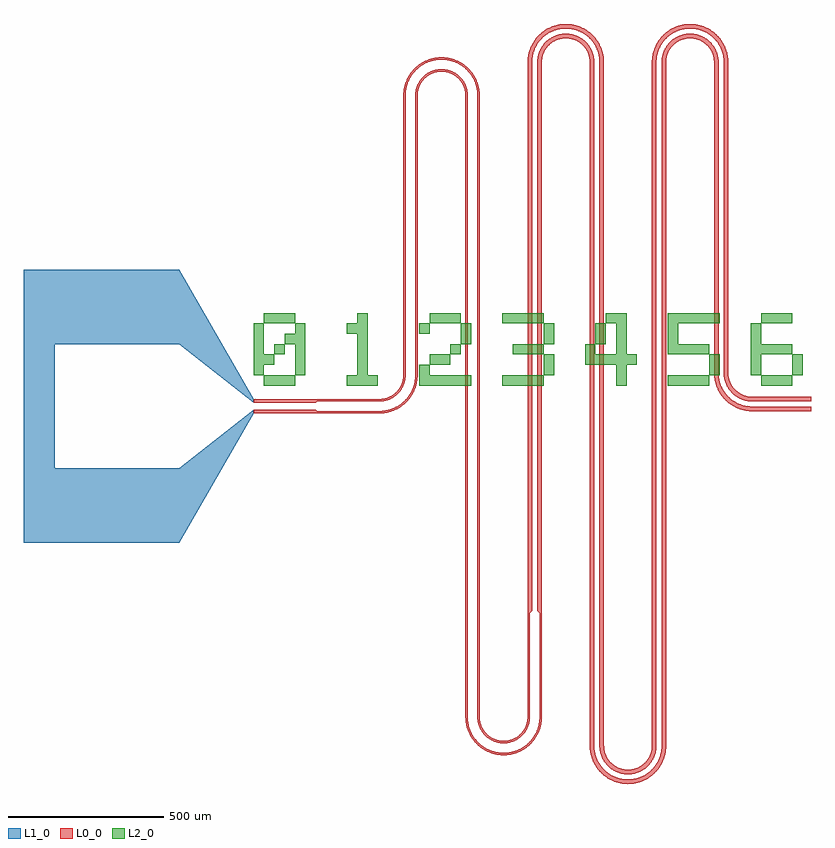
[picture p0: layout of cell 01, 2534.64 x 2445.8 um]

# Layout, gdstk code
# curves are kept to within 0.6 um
import gdstk
lib = gdstk.Library(unit=1e-6, precision=1e-09)
def R(c, l, rs):  # rectangles x0, y0, x1, y1
    for r in rs: c.add(gdstk.rectangle(r[:2], r[2:], *l))
def P(c, l, *ps):  # polygons
    for p in ps: c.add(gdstk.Polygon(p, *l))
L0_0 = (0, 0)
L1_0 = (1, 0)
L2_0 = (2, 0)

c_01 = lib.new_cell('01')
R(c_01, L0_0, [(1081.7,-1092.8,1096.3,1107.2), (1112.9,-1092.8,1127.5,1107.2), (1281.7,-1092.8,1296.3,1107.2), (1312.9,-1092.8,1327.5,1107.2), (681.7,-1000,689.1,1000), (720.1,-1000,727.5,1000), (881.7,-1000,889.1,-665.4), (920.1,-1000,927.5,-665.4), (881.7,-658.2,896.3,1107.2), (912.9,-658.2,927.5,1107.2), (0,-22.9,200,-10.9), (204.6,-22.9,404.6,-15.5), (1604.6,-15.7,1794.643,-1.1), (0,10.9,200,22.9), (204.6,15.5,404.6,22.9), (1604.6,15.5,1794.643,30.1), (481.7,100,489.1,1000), (520.1,100,527.5,1000), (1481.7,107.2,1496.3,1107.2), (1512.9,107.2,1527.5,1107.2)])
P(c_01, L0_0, [(200,22.9),(200,10.9),(204.6,15.5),(204.6,22.9)],
  [(200,-10.9),(200,-22.9),(204.6,-22.9),(204.6,-15.5)],
  [(404.6,15.5),(421.61,17.23),(437.923,22.348),(452.872,30.645),(464.351,40.249),(473.955,51.728),(482.252,66.677),(487.37,82.99),(489.1,100),(481.7,100),(480.122,84.48),(475.452,69.595),(467.881,55.955),(459.118,45.482),(448.645,36.719),(435.005,29.148),(420.12,24.478),(404.6,22.9)],
  [(404.6,-22.9),(417.034,-22.269),(429.34,-20.384),(441.392,-17.264),(453.066,-12.94),(464.244,-7.457),(474.809,-0.872),(491.503,13.097),(505.472,29.791),(512.057,40.356),(517.54,51.534),(521.864,63.208),(524.984,75.26),(526.869,87.566),(527.5,100),(520.1,100),(517.736,76.75),(510.74,54.452),(501.039,36.441),(486.271,18.329),(468.159,3.561),(450.148,-6.14),(427.85,-13.136),(404.6,-15.5)],
  [(520.1,1000),(521.469,1015.149),(526.326,1031.834),(534.492,1047.172),(544.085,1058.976),(557.428,1070.108),(570.762,1077.429),(587.315,1082.713),(604.6,1084.5),(604.6,1077.1),(590.777,1075.851),(575.554,1071.42),(561.559,1063.968),(550.789,1055.215),(540.632,1043.041),(533.18,1029.046),(528.749,1013.823),(527.5,1000)],
  [(481.7,1000),(483.691,1022.034),(486.598,1034.349),(490.755,1046.3),(500.9,1065.96),(508.232,1076.273),(516.585,1085.777),(525.871,1094.373),(535.992,1101.967),(546.84,1108.481),(558.3,1113.845),(570.251,1118.002),(582.566,1120.909),(604.6,1122.9),(604.6,1115.5),(583.893,1113.629),(572.319,1110.897),(561.088,1106.99),(550.318,1101.949),(540.123,1095.828),(523.987,1082.716),(515.91,1073.989),(508.772,1064.477),(498.765,1046.252),(494.571,1035.125),(491.542,1023.626),(489.712,1011.876),(489.1,1000)],
  [(604.6,1084.5),(619.749,1083.131),(636.434,1078.274),(651.772,1070.108),(663.576,1060.515),(674.708,1047.172),(682.029,1033.838),(687.313,1017.285),(689.1,1000),(681.7,1000),(680.451,1013.823),(676.02,1029.046),(668.568,1043.041),(659.815,1053.811),(647.641,1063.968),(633.646,1071.42),(618.423,1075.851),(604.6,1077.1)],
  [(604.6,1122.9),(626.634,1120.909),(638.949,1118.002),(650.9,1113.845),(670.56,1103.7),(680.873,1096.368),(690.377,1088.015),(698.973,1078.729),(706.567,1068.608),(713.081,1057.76),(718.445,1046.3),(722.602,1034.349),(725.509,1022.034),(727.5,1000),(720.1,1000),(718.229,1020.707),(715.497,1032.281),(711.59,1043.512),(706.549,1054.282),(700.428,1064.477),(687.316,1080.613),(678.589,1088.69),(669.077,1095.828),(650.852,1105.835),(639.725,1110.029),(628.226,1113.058),(616.476,1114.888),(604.6,1115.5)],
  [(720.1,-1000),(721.469,-1015.149),(726.326,-1031.834),(734.492,-1047.172),(744.085,-1058.976),(757.428,-1070.108),(770.762,-1077.429),(787.315,-1082.713),(804.6,-1084.5),(804.6,-1077.1),(790.777,-1075.851),(775.554,-1071.42),(761.559,-1063.968),(750.789,-1055.215),(740.632,-1043.041),(733.18,-1029.046),(728.749,-1013.823),(727.5,-1000)],
  [(681.7,-1000),(683.691,-1022.034),(686.598,-1034.349),(690.755,-1046.3),(700.9,-1065.96),(708.232,-1076.273),(716.585,-1085.777),(725.871,-1094.373),(735.992,-1101.967),(746.84,-1108.481),(758.3,-1113.845),(770.251,-1118.002),(782.566,-1120.909),(804.6,-1122.9),(804.6,-1115.5),(783.893,-1113.629),(772.319,-1110.897),(761.088,-1106.99),(750.318,-1101.949),(740.123,-1095.828),(723.987,-1082.716),(715.91,-1073.989),(708.772,-1064.477),(698.765,-1046.252),(694.571,-1035.125),(691.542,-1023.626),(689.712,-1011.876),(689.1,-1000)],
  [(804.6,-1084.5),(819.749,-1083.131),(836.434,-1078.274),(851.772,-1070.108),(863.576,-1060.515),(874.708,-1047.172),(882.029,-1033.838),(887.313,-1017.285),(889.1,-1000),(881.7,-1000),(880.451,-1013.823),(876.02,-1029.046),(868.568,-1043.041),(859.815,-1053.811),(847.641,-1063.968),(833.646,-1071.42),(818.423,-1075.851),(804.6,-1077.1)],
  [(804.6,-1122.9),(826.634,-1120.909),(838.949,-1118.002),(850.9,-1113.845),(870.56,-1103.7),(880.873,-1096.368),(890.377,-1088.015),(898.973,-1078.729),(906.567,-1068.608),(913.081,-1057.76),(918.445,-1046.3),(922.602,-1034.349),(925.509,-1022.034),(927.5,-1000),(920.1,-1000),(918.229,-1020.707),(915.497,-1032.281),(911.59,-1043.512),(906.549,-1054.282),(900.428,-1064.477),(887.316,-1080.613),(878.589,-1088.69),(869.077,-1095.828),(850.852,-1105.835),(839.725,-1110.029),(828.226,-1113.058),(816.476,-1114.888),(804.6,-1115.5)],
  [(881.7,-665.4),(889.1,-665.4),(896.3,-658.2),(881.7,-658.2)],
  [(920.1,-665.4),(927.5,-665.4),(927.5,-658.2),(912.9,-658.2)],
  [(912.9,1107.2),(914.839,1125.957),(919.656,1141.746),(927.226,1156.415),(938.929,1171.201),(953.409,1183.281),(970.054,1192.144),(985.843,1196.961),(1004.6,1198.9),(1004.6,1184.3),(990.777,1183.051),(975.554,1178.62),(961.559,1171.168),(950.789,1162.415),(940.632,1150.241),(933.18,1136.246),(928.749,1121.023),(927.5,1107.2)],
  [(881.7,1107.2),(883.691,1129.234),(886.598,1141.549),(890.755,1153.5),(900.9,1173.16),(908.232,1183.473),(916.585,1192.977),(925.871,1201.573),(935.992,1209.167),(946.84,1215.681),(958.3,1221.045),(970.251,1225.202),(982.566,1228.109),(1004.6,1230.1),(1004.6,1215.5),(982.447,1213.21),(963.8,1207.521),(944.142,1197.054),(929.013,1184.759),(914.746,1167.658),(904.279,1148),(898.59,1129.353),(896.3,1107.2)],
  [(1004.6,1198.9),(1023.357,1196.961),(1039.146,1192.144),(1053.815,1184.574),(1068.601,1172.871),(1080.681,1158.391),(1089.544,1141.746),(1094.361,1125.957),(1096.3,1107.2),(1081.7,1107.2),(1080.451,1121.023),(1076.02,1136.246),(1068.568,1150.241),(1059.815,1161.011),(1047.641,1171.168),(1033.646,1178.62),(1018.423,1183.051),(1004.6,1184.3)],
  [(1004.6,1230.1),(1026.634,1228.109),(1038.949,1225.202),(1050.9,1221.045),(1070.56,1210.9),(1080.873,1203.568),(1090.377,1195.215),(1098.973,1185.929),(1106.567,1175.808),(1113.081,1164.96),(1118.445,1153.5),(1122.602,1141.549),(1125.509,1129.234),(1127.5,1107.2),(1112.9,1107.2),(1110.61,1129.353),(1104.921,1148),(1094.454,1167.658),(1082.159,1182.787),(1065.058,1197.054),(1045.4,1207.521),(1026.753,1213.21),(1004.6,1215.5)],
  [(1112.9,-1092.8),(1114.839,-1111.557),(1119.656,-1127.346),(1127.226,-1142.015),(1138.929,-1156.801),(1153.409,-1168.881),(1170.054,-1177.744),(1185.843,-1182.561),(1204.6,-1184.5),(1204.6,-1169.9),(1190.777,-1168.651),(1175.554,-1164.22),(1161.559,-1156.768),(1150.789,-1148.015),(1140.632,-1135.841),(1133.18,-1121.846),(1128.749,-1106.623),(1127.5,-1092.8)],
  [(1081.7,-1092.8),(1083.691,-1114.834),(1086.598,-1127.149),(1090.755,-1139.1),(1100.9,-1158.76),(1108.232,-1169.073),(1116.585,-1178.577),(1125.871,-1187.173),(1135.992,-1194.767),(1146.84,-1201.281),(1158.3,-1206.645),(1170.251,-1210.802),(1182.566,-1213.709),(1204.6,-1215.7),(1204.6,-1201.1),(1182.447,-1198.81),(1163.8,-1193.121),(1144.142,-1182.654),(1129.013,-1170.359),(1114.746,-1153.258),(1104.279,-1133.6),(1098.59,-1114.953),(1096.3,-1092.8)],
  [(1204.6,-1184.5),(1223.357,-1182.561),(1239.146,-1177.744),(1253.815,-1170.174),(1268.601,-1158.471),(1280.681,-1143.991),(1289.544,-1127.346),(1294.361,-1111.557),(1296.3,-1092.8),(1281.7,-1092.8),(1280.451,-1106.623),(1276.02,-1121.846),(1268.568,-1135.841),(1259.815,-1146.611),(1247.641,-1156.768),(1233.646,-1164.22),(1218.423,-1168.651),(1204.6,-1169.9)],
  [(1204.6,-1215.7),(1226.634,-1213.709),(1238.949,-1210.802),(1250.9,-1206.645),(1270.56,-1196.5),(1280.873,-1189.168),(1290.377,-1180.815),(1298.973,-1171.529),(1306.567,-1161.408),(1313.081,-1150.56),(1318.445,-1139.1),(1322.602,-1127.149),(1325.509,-1114.834),(1327.5,-1092.8),(1312.9,-1092.8),(1310.61,-1114.953),(1304.921,-1133.6),(1294.454,-1153.258),(1282.159,-1168.387),(1265.058,-1182.654),(1245.4,-1193.121),(1226.753,-1198.81),(1204.6,-1201.1)],
  [(1312.9,1107.2),(1314.839,1125.957),(1319.656,1141.746),(1327.226,1156.415),(1338.929,1171.201),(1353.409,1183.281),(1370.054,1192.144),(1385.843,1196.961),(1404.6,1198.9),(1404.6,1184.3),(1390.777,1183.051),(1375.554,1178.62),(1361.559,1171.168),(1350.789,1162.415),(1340.632,1150.241),(1333.18,1136.246),(1328.749,1121.023),(1327.5,1107.2)],
  [(1281.7,1107.2),(1283.691,1129.234),(1286.598,1141.549),(1290.755,1153.5),(1300.9,1173.16),(1308.232,1183.473),(1316.585,1192.977),(1325.871,1201.573),(1335.992,1209.167),(1346.84,1215.681),(1358.3,1221.045),(1370.251,1225.202),(1382.566,1228.109),(1404.6,1230.1),(1404.6,1215.5),(1382.447,1213.21),(1363.8,1207.521),(1344.142,1197.054),(1329.013,1184.759),(1314.746,1167.658),(1304.279,1148),(1298.59,1129.353),(1296.3,1107.2)],
  [(1404.6,1198.9),(1423.357,1196.961),(1439.146,1192.144),(1453.815,1184.574),(1468.601,1172.871),(1480.681,1158.391),(1489.544,1141.746),(1494.361,1125.957),(1496.3,1107.2),(1481.7,1107.2),(1480.451,1121.023),(1476.02,1136.246),(1468.568,1150.241),(1459.815,1161.011),(1447.641,1171.168),(1433.646,1178.62),(1418.423,1183.051),(1404.6,1184.3)],
  [(1404.6,1230.1),(1426.634,1228.109),(1438.949,1225.202),(1450.9,1221.045),(1470.56,1210.9),(1480.873,1203.568),(1490.377,1195.215),(1498.973,1185.929),(1506.567,1175.808),(1513.081,1164.96),(1518.445,1153.5),(1522.602,1141.549),(1525.509,1129.234),(1527.5,1107.2),(1512.9,1107.2),(1510.61,1129.353),(1504.921,1148),(1494.454,1167.658),(1482.159,1182.787),(1465.058,1197.054),(1445.4,1207.521),(1426.753,1213.21),(1404.6,1215.5)],
  [(1512.9,107.2),(1514.338,91.022),(1519.443,73.184),(1528.033,56.738),(1539.758,42.358),(1554.138,30.633),(1570.584,22.043),(1588.422,16.938),(1604.6,15.5),(1604.6,30.1),(1589.08,31.678),(1574.195,36.348),(1560.555,43.919),(1550.082,52.682),(1541.319,63.155),(1533.748,76.795),(1529.078,91.68),(1527.5,107.2)],
  [(1481.7,107.2),(1482.331,94.766),(1484.216,82.46),(1487.336,70.408),(1491.66,58.734),(1497.143,47.556),(1503.728,36.991),(1517.697,20.297),(1534.391,6.328),(1544.956,-0.257),(1556.134,-5.74),(1567.808,-10.064),(1579.86,-13.184),(1592.166,-15.069),(1604.6,-15.7),(1604.6,-1.1),(1582.799,1.117),(1561.891,7.677),(1542.732,18.311),(1528.02,30.62),(1515.711,45.332),(1505.077,64.491),(1498.517,85.399),(1496.3,107.2)])
P(c_01, L1_0, [(0,10.9),(-240,200),(-640,200),(-640,-200),(-240,-200),(0,-10.9),(0,-22.9),(-240,-440),(-740,-440),(-740,440),(-240,440),(0,22.9)])
R(c_01, L2_0, [(66.667,166.667,100,200), (633.333,166.667,666.667,200), (533.333,233.333,566.667,266.667)])
P(c_01, L2_0, [(0,100),(33.333,100),(33.333,133.333),(66.667,133.333),(66.667,166.667),(33.333,166.667),(33.333,200),(33.333,233.333),(33.333,266.667),(0,266.667),(0,233.333),(0,200),(0,166.667),(0,133.333)],
  [(33.333,66.667),(66.667,66.667),(100,66.667),(133.333,66.667),(133.333,100),(100,100),(66.667,100),(33.333,100)],
  [(33.333,266.667),(66.667,266.667),(100,266.667),(133.333,266.667),(133.333,300),(100,300),(66.667,300),(33.333,300)],
  [(100,200),(133.333,200),(133.333,166.667),(133.333,133.333),(133.333,100),(166.667,100),(166.667,133.333),(166.667,166.667),(166.667,200),(166.667,233.333),(166.667,266.667),(133.333,266.667),(133.333,233.333),(100,233.333)],
  [(300,66.667),(333.333,66.667),(366.667,66.667),(400,66.667),(400,100),(366.667,100),(366.667,133.333),(366.667,166.667),(366.667,200),(366.667,233.333),(366.667,266.667),(366.667,300),(333.333,300),(333.333,266.667),(300,266.667),(300,233.333),(333.333,233.333),(333.333,200),(333.333,166.667),(333.333,133.333),(333.333,100),(300,100)],
  [(533.333,66.667),(566.667,66.667),(600,66.667),(633.333,66.667),(666.667,66.667),(700,66.667),(700,100),(666.667,100),(633.333,100),(600,100),(566.667,100),(566.667,133.333),(533.333,133.333),(533.333,100)],
  [(566.667,133.333),(600,133.333),(633.333,133.333),(633.333,166.667),(600,166.667),(566.667,166.667)],
  [(566.667,266.667),(600,266.667),(633.333,266.667),(666.667,266.667),(666.667,300),(633.333,300),(600,300),(566.667,300)],
  [(666.667,200),(700,200),(700,233.333),(700,266.667),(666.667,266.667),(666.667,233.333)],
  [(800,66.667),(833.333,66.667),(866.667,66.667),(900,66.667),(933.333,66.667),(933.333,100),(900,100),(866.667,100),(833.333,100),(800,100)],
  [(800,266.667),(833.333,266.667),(866.667,266.667),(900,266.667),(933.333,266.667),(933.333,300),(900,300),(866.667,300),(833.333,300),(800,300)],
  [(833.333,166.667),(866.667,166.667),(900,166.667),(933.333,166.667),(933.333,200),(900,200),(866.667,200),(833.333,200)],
  [(933.333,100),(966.667,100),(966.667,133.333),(966.667,166.667),(933.333,166.667),(933.333,133.333)],
  [(933.333,200),(966.667,200),(966.667,233.333),(966.667,266.667),(933.333,266.667),(933.333,233.333)],
  [(1066.667,133.333),(1100,133.333),(1133.333,133.333),(1166.667,133.333),(1166.667,100),(1166.667,66.667),(1200,66.667),(1200,100),(1200,133.333),(1233.333,133.333),(1233.333,166.667),(1200,166.667),(1200,200),(1200,233.333),(1200,266.667),(1200,300),(1166.667,300),(1133.333,300),(1133.333,266.667),(1166.667,266.667),(1166.667,233.333),(1166.667,200),(1166.667,166.667),(1133.333,166.667),(1100,166.667),(1100,200),(1066.667,200),(1066.667,166.667)],
  [(1100,200),(1133.333,200),(1133.333,233.333),(1133.333,266.667),(1100,266.667),(1100,233.333)],
  [(1333.333,66.667),(1366.667,66.667),(1400,66.667),(1433.333,66.667),(1466.667,66.667),(1466.667,100),(1433.333,100),(1400,100),(1366.667,100),(1333.333,100)],
  [(1333.333,166.667),(1366.667,166.667),(1400,166.667),(1433.333,166.667),(1466.667,166.667),(1466.667,200),(1433.333,200),(1400,200),(1366.667,200),(1366.667,233.333),(1366.667,266.667),(1400,266.667),(1433.333,266.667),(1466.667,266.667),(1500,266.667),(1500,300),(1466.667,300),(1433.333,300),(1400,300),(1366.667,300),(1333.333,300),(1333.333,266.667),(1333.333,233.333),(1333.333,200)],
  [(1466.667,100),(1500,100),(1500,133.333),(1500,166.667),(1466.667,166.667),(1466.667,133.333)],
  [(1600,100),(1633.333,100),(1633.333,133.333),(1633.333,166.667),(1666.667,166.667),(1700,166.667),(1733.333,166.667),(1733.333,200),(1700,200),(1666.667,200),(1633.333,200),(1633.333,233.333),(1633.333,266.667),(1600,266.667),(1600,233.333),(1600,200),(1600,166.667),(1600,133.333)],
  [(1633.333,66.667),(1666.667,66.667),(1700,66.667),(1733.333,66.667),(1733.333,100),(1700,100),(1666.667,100),(1633.333,100)],
  [(1633.333,266.667),(1666.667,266.667),(1700,266.667),(1733.333,266.667),(1733.333,300),(1700,300),(1666.667,300),(1633.333,300)],
  [(1733.333,100),(1766.667,100),(1766.667,133.333),(1766.667,166.667),(1733.333,166.667),(1733.333,133.333)])

lib.write_gds('01.gds')
